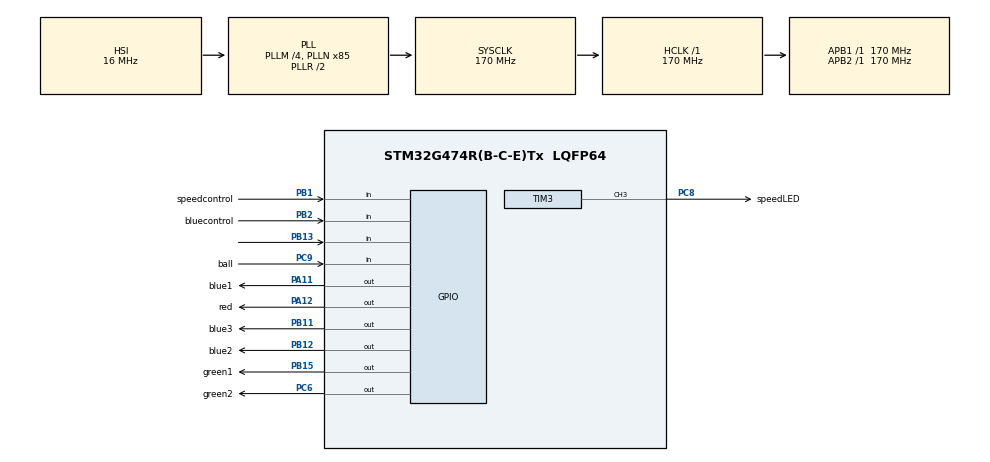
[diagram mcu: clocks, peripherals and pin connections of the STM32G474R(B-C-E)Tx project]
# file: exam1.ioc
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Mcu.Family=STM32G4
Mcu.Name=STM32G474R(B-C-E)Tx
Mcu.Package=LQFP64
NVIC.PriorityGroup=NVIC_PRIORITYGROUP_4
PA11.GPIO_Label=blue1
PA11.Signal=GPIO_Output
PA12.GPIO_Label=red
PA12.Signal=GPIO_Output
PA13.GPIO_Label=T_SWDIO
PA13.Signal=SYS_JTMS-SWDIO
PA14.GPIO_Label=T_SWCLK
PA14.Signal=SYS_JTCK-SWCLK
PA2.GPIO_Label=LPUART1_TX [STLINKV3E_VCP_RX]
PA2.Signal=LPUART1_TX
PA3.GPIO_Label=LPUART1_RX [STLINKV3E_VCP_TX]
PA3.Signal=LPUART1_RX
PB1.GPIO_Label=speedcontrol
PB1.GPIO_PuPd=GPIO_PULLUP
PB1.Signal=GPIO_Input
PB11.GPIO_Label=blue3
PB11.Signal=GPIO_Output
PB12.GPIO_Label=blue2
PB12.Signal=GPIO_Output
PB13.GPIO_PuPd=GPIO_PULLUP
PB13.Signal=GPIO_Input
PB15.GPIO_Label=green1
PB15.Signal=GPIO_Output
PB2.GPIO_Label=bluecontrol
PB2.GPIO_PuPd=GPIO_PULLUP
PB2.Signal=GPIO_Input
PB3.GPIO_Label=T_SWO
PB3.Signal=SYS_JTDO-SWO
PC14-OSC32_IN.GPIO_Label=RCC_OSC32_IN
PC14-OSC32_IN.Signal=RCC_OSC32_IN
PC15-OSC32_OUT.GPIO_Label=RCC_OSC32_OUT
PC15-OSC32_OUT.Signal=RCC_OSC32_OUT
PC6.GPIO_Label=green2
PC6.Signal=GPIO_Output
PC8.GPIO_Label=speedLED
PC8.Signal=S_TIM3_CH3
PC9.GPIO_Label=ball
PC9.GPIO_PuPd=GPIO_PULLUP
PC9.Signal=GPIO_Input
PF0-OSC_IN.GPIO_Label=RCC_OSC_IN
PF0-OSC_IN.Signal=RCC_OSC_IN
PF1-OSC_OUT.GPIO_Label=RCC_OSC_OUT
PF1-OSC_OUT.Signal=RCC_OSC_OUT
ProjectManager.HeapSize=0x200
ProjectManager.StackSize=0x400
ProjectManager.TargetToolchain=STM32CubeIDE
RCC.ADC12Freq_Value=170000000
RCC.ADC345Freq_Value=170000000
RCC.AHBFreq_Value=170000000
RCC.APB1Freq_Value=170000000
RCC.APB1TimFreq_Value=170000000
RCC.APB2Freq_Value=170000000
RCC.APB2TimFreq_Value=170000000
RCC.CortexFreq_Value=170000000
RCC.EXTERNAL_CLOCK_VALUE=12288000
RCC.HCLKFreq_Value=170000000
RCC.HSE_VALUE=24000000
RCC.HSI48_VALUE=48000000
RCC.HSI_VALUE=16000000
RCC.LSE_VALUE=32768
RCC.PLLM=RCC_PLLM_DIV4
RCC.PLLN=85
RCC.RTCClockSelection=RCC_RTCCLKSOURCE_LSE
RCC.SYSCLKFreq_VALUE=170000000
RCC.SYSCLKSource=RCC_SYSCLKSOURCE_PLLCLK
RCC.USBFreq_Value=170000000
RCC.VCOOutputFreq_Value=340000000
SH.S_TIM3_CH3.0=TIM3_CH3,PWM Generation3 CH3
TIM3.Channel-PWM\ Generation3\ CH3=TIM_CHANNEL_3
TIM3.PeriodNoDither=19999
TIM3.Prescaler=1699
TIM3.PulseNoDither_3=16000
VP_SYS_VS_DBSignals.Mode=DisableDeadBatterySignals
VP_TIM3_VS_ClockSourceINT.Mode=Internal
board=NUCLEO-G474RE

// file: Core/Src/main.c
/* USER CODE BEGIN Header */
/**
  ******************************************************************************
  * @file           : main.c
  * @brief          : Main program body
  ******************************************************************************
  * @attention
  *
  * Copyright (c) 2026 STMicroelectronics.
  * All rights reserved.
  *
  * This software is licensed under terms that can be found in the LICENSE file
  * in the root directory of this software component.
  * If no LICENSE file comes with this software, it is provided AS-IS.
  *
  ******************************************************************************
  */
/* USER CODE END Header */

#include "main.h"

TIM_HandleTypeDef htim3;

void SystemClock_Config(void);
static void MX_GPIO_Init(void);
static void MX_TIM3_Init(void);

int main(void)
{
  /* MCU Configuration--------------------------------------------------------*/
  HAL_Init();
  SystemClock_Config();

  /* Initialize all configured peripherals */
  MX_GPIO_Init();
  MX_TIM3_Init();

  /* USER CODE BEGIN 2 */

  // 啟動 TIM3 Channel 3 的 PWM 輸出 (對應 PC8 球速指示燈)
  HAL_TIM_PWM_Start(&htim3, TIM_CHANNEL_3);

  // 變數初始化宣告
  uint8_t direction_state = 0; // 0: 方向1 (PA11), 1: 方向2 (PB12), 2: 方向3 (PB11)
  uint8_t speed_level = 1;     // 1: 慢速, 2: 中速, 3: 快速

  // 初始化狀態：預設點亮方向1
  HAL_GPIO_WritePin(GPIOA, blue1_Pin, GPIO_PIN_SET);
  HAL_GPIO_WritePin(GPIOB, blue2_Pin, GPIO_PIN_RESET);
  HAL_GPIO_WritePin(GPIOB, blue3_Pin, GPIO_PIN_RESET);
  /* USER CODE END 2 */

  /* Infinite loop */
  while (1)
  {

    /* USER CODE BEGIN 3 */

    /* 1. 偵測是否有球 (PC9 / ball_Pin)
     * 按下 (GPIO_PIN_RESET) = 沒有球 -> 紅燈亮 (PA12 / red_Pin)、綠燈滅 (PC6 / green2_Pin)
     * 放開 (GPIO_PIN_SET)   = 有球   -> 紅燈滅 (PA12 / red_Pin)、綠燈亮 (PC6 / green2_Pin)
     */
    if (HAL_GPIO_ReadPin(ball_GPIO_Port, ball_Pin) == GPIO_PIN_RESET) {
        HAL_GPIO_WritePin(GPIOA, red_Pin, GPIO_PIN_SET);                  // 紅燈亮 (無球)
        HAL_GPIO_WritePin(green2_GPIO_Port, green2_Pin, GPIO_PIN_RESET);  // 綠燈滅
    } else {
        HAL_GPIO_WritePin(GPIOA, red_Pin, GPIO_PIN_RESET);                // 紅燈滅
        HAL_GPIO_WritePin(green2_GPIO_Port, green2_Pin, GPIO_PIN_SET);    // 綠燈亮 (有球)
    }

    /* 2. 發球控制 (改為 PB13 發球鍵, PB15 發球燈 / green1_Pin)
     * 必須在「有球」的前提下 (即 PC9 放開 / ball_Pin 為 SET)，按下 PB13 發球燈才會亮 0.5 秒
     */
    if (HAL_GPIO_ReadPin(GPIOB, GPIO_PIN_13) == GPIO_PIN_RESET) { // 按下 PB13 發球鍵
        if (HAL_GPIO_ReadPin(ball_GPIO_Port, ball_Pin) == GPIO_PIN_SET) { // 確保有球
            HAL_GPIO_WritePin(GPIOB, green1_Pin, GPIO_PIN_SET); // 發球燈亮
            HAL_Delay(500);
            HAL_GPIO_WritePin(GPIOB, green1_Pin, GPIO_PIN_RESET);
        }
        // 等待發球按鍵放開，避免連續觸發
        while(HAL_GPIO_ReadPin(GPIOB, GPIO_PIN_13) == GPIO_PIN_RESET);
    }

    /* 3. 方向切換按鍵 (PB2 / bluecontrol_Pin)
     * 每按一次切換 3 個方向 LED (PA11 -> PB12 -> PB11 -> 循環)
     */
    if (HAL_GPIO_ReadPin(GPIOB, bluecontrol_Pin) == GPIO_PIN_RESET) {
        HAL_Delay(30); // 簡易去彈跳
        if (HAL_GPIO_ReadPin(GPIOB, bluecontrol_Pin) == GPIO_PIN_RESET) {
            direction_state = (direction_state + 1) % 3;

            HAL_GPIO_WritePin(GPIOA, blue1_Pin, (direction_state == 0) ? GPIO_PIN_SET : GPIO_PIN_RESET);
            HAL_GPIO_WritePin(GPIOB, blue2_Pin, (direction_state == 1) ? GPIO_PIN_SET : GPIO_PIN_RESET);
            HAL_GPIO_WritePin(GPIOB, blue3_Pin, (direction_state == 2) ? GPIO_PIN_SET : GPIO_PIN_RESET);

            while(HAL_GPIO_ReadPin(GPIOB, bluecontrol_Pin) == GPIO_PIN_RESET);
        }
    }

    /* 4. 球速切換按鍵 (PB1 / speedcontrol_Pin)
     * 每按一次切換一種球速 (改變 PC8 的 PWM 佔空比)
     */
    if (HAL_GPIO_ReadPin(GPIOB, speedcontrol_Pin) == GPIO_PIN_RESET) {
        HAL_Delay(30);
        if (HAL_GPIO_ReadPin(GPIOB, speedcontrol_Pin) == GPIO_PIN_RESET) {
            speed_level = (speed_level % 3) + 1;

            if (speed_level == 1)      __HAL_TIM_SET_COMPARE(&htim3, TIM_CHANNEL_3, 5000);  // 速度 1
            else if (speed_level == 2) __HAL_TIM_SET_COMPARE(&htim3, TIM_CHANNEL_3, 12000); // 速度 2
            else if (speed_level == 3) __HAL_TIM_SET_COMPARE(&htim3, TIM_CHANNEL_3, 19000); // 速度 3

            while(HAL_GPIO_ReadPin(GPIOB, speedcontrol_Pin) == GPIO_PIN_RESET);
        }
    }

  }
  /* USER CODE END 3 */
}

void SystemClock_Config(void)
{
  RCC_OscInitTypeDef RCC_OscInitStruct = {0};
  RCC_ClkInitTypeDef RCC_ClkInitStruct = {0};

  HAL_PWREx_ControlVoltageScaling(PWR_REGULATOR_VOLTAGE_SCALE1_BOOST);

  RCC_OscInitStruct.OscillatorType = RCC_OSCILLATORTYPE_HSI;
  RCC_OscInitStruct.HSIState = RCC_HSI_ON;
  RCC_OscInitStruct.HSICalibrationValue = RCC_HSICALIBRATION_DEFAULT;
  RCC_OscInitStruct.PLL.PLLState = RCC_PLL_ON;
  RCC_OscInitStruct.PLL.PLLSource = RCC_PLLSOURCE_HSI;
  RCC_OscInitStruct.PLL.PLLM = RCC_PLLM_DIV4;
  RCC_OscInitStruct.PLL.PLLN = 85;
  RCC_OscInitStruct.PLL.PLLP = RCC_PLLP_DIV2;
  RCC_OscInitStruct.PLL.PLLQ = RCC_PLLQ_DIV2;
  RCC_OscInitStruct.PLL.PLLR = RCC_PLLR_DIV2;
  if (HAL_RCC_OscConfig(&RCC_OscInitStruct) != HAL_OK)
  {
    Error_Handler();
  }

  RCC_ClkInitStruct.ClockType = RCC_CLOCKTYPE_HCLK|RCC_CLOCKTYPE_SYSCLK
                              |RCC_CLOCKTYPE_PCLK1|RCC_CLOCKTYPE_PCLK2;
  RCC_ClkInitStruct.SYSCLKSource = RCC_SYSCLKSOURCE_PLLCLK;
  RCC_ClkInitStruct.AHBCLKDivider = RCC_SYSCLK_DIV1;
  RCC_ClkInitStruct.APB1CLKDivider = RCC_HCLK_DIV1;
  RCC_ClkInitStruct.APB2CLKDivider = RCC_HCLK_DIV1;

  if (HAL_RCC_ClockConfig(&RCC_ClkInitStruct, FLASH_LATENCY_4) != HAL_OK)
  {
    Error_Handler();
  }
}

static void MX_TIM3_Init(void)
{
  TIM_ClockConfigTypeDef sClockSourceConfig = {0};
  TIM_MasterConfigTypeDef sMasterConfig = {0};
  TIM_OC_InitTypeDef sConfigOC = {0};

  htim3.Instance = TIM3;
  htim3.Init.Prescaler = 1699;
  htim3.Init.CounterMode = TIM_COUNTERMODE_UP;
  htim3.Init.Period = 19999;
  htim3.Init.ClockDivision = TIM_CLOCKDIVISION_DIV1;
  htim3.Init.AutoReloadPreload = TIM_AUTORELOAD_PRELOAD_DISABLE;
  if (HAL_TIM_Base_Init(&htim3) != HAL_OK)
  {
    Error_Handler();
  }
  sClockSourceConfig.ClockSource = TIM_CLOCKSOURCE_INTERNAL;
  if (HAL_TIM_ConfigClockSource(&htim3, &sClockSourceConfig) != HAL_OK)
  {
    Error_Handler();
  }
  if (HAL_TIM_PWM_Init(&htim3) != HAL_OK)
  {
    Error_Handler();
  }
  sMasterConfig.MasterOutputTrigger = TIM_TRGO_RESET;
  sMasterConfig.MasterSlaveMode = TIM_MASTERSLAVEMODE_DISABLE;
  if (HAL_TIMEx_MasterConfigSynchronization(&htim3, &sMasterConfig) != HAL_OK)
  {
    Error_Handler();
  }
  sConfigOC.OCMode = TIM_OCMODE_PWM1;
  sConfigOC.Pulse = 16000;
  sConfigOC.OCPolarity = TIM_OCPOLARITY_HIGH;
  sConfigOC.OCFastMode = TIM_OCFAST_DISABLE;
  if (HAL_TIM_PWM_ConfigChannel(&htim3, &sConfigOC, TIM_CHANNEL_3) != HAL_OK)
  {
    Error_Handler();
  }
  HAL_TIM_MspPostInit(&htim3);
}

static void MX_GPIO_Init(void)
{
  GPIO_InitTypeDef GPIO_InitStruct = {0};

  __HAL_RCC_GPIOC_CLK_ENABLE();
  __HAL_RCC_GPIOF_CLK_ENABLE();
  __HAL_RCC_GPIOA_CLK_ENABLE();
  __HAL_RCC_GPIOB_CLK_ENABLE();

  HAL_GPIO_WritePin(GPIOB, blue3_Pin|blue2_Pin|green1_Pin, GPIO_PIN_RESET);
  HAL_GPIO_WritePin(green2_GPIO_Port, green2_Pin, GPIO_PIN_RESET);
  HAL_GPIO_WritePin(GPIOA, blue1_Pin|red_Pin, GPIO_PIN_RESET);

  /*Configure GPIO pin : PB13 (發球按鍵) */
  GPIO_InitStruct.Pin = GPIO_PIN_13;
  GPIO_InitStruct.Mode = GPIO_MODE_INPUT;
  GPIO_InitStruct.Pull = GPIO_PULLUP; // PB13 建議開啟上拉，按鍵接 GND
  HAL_GPIO_Init(GPIOB, &GPIO_InitStruct);

  /*Configure GPIO pins : speedcontrol_Pin (PB1) bluecontrol_Pin (PB2) */
  GPIO_InitStruct.Pin = speedcontrol_Pin|bluecontrol_Pin;
  GPIO_InitStruct.Mode = GPIO_MODE_INPUT;
  GPIO_InitStruct.Pull = GPIO_PULLUP;
  HAL_GPIO_Init(GPIOB, &GPIO_InitStruct);

  /*Configure GPIO pins : blue3_Pin blue2_Pin green1_Pin */
  GPIO_InitStruct.Pin = blue3_Pin|blue2_Pin|green1_Pin;
  GPIO_InitStruct.Mode = GPIO_MODE_OUTPUT_PP;
  GPIO_InitStruct.Pull = GPIO_NOPULL;
  GPIO_InitStruct.Speed = GPIO_SPEED_FREQ_LOW;
  HAL_GPIO_Init(GPIOB, &GPIO_InitStruct);

  /*Configure GPIO pin : green2_Pin */
  GPIO_InitStruct.Pin = green2_Pin;
  GPIO_InitStruct.Mode = GPIO_MODE_OUTPUT_PP;
  GPIO_InitStruct.Pull = GPIO_NOPULL;
  GPIO_InitStruct.Speed = GPIO_SPEED_FREQ_LOW;
  HAL_GPIO_Init(green2_GPIO_Port, &GPIO_InitStruct);

  /*Configure GPIO pin : ball_Pin (PC9) */
  GPIO_InitStruct.Pin = ball_Pin;
  GPIO_InitStruct.Mode = GPIO_MODE_INPUT;
  GPIO_InitStruct.Pull = GPIO_PULLUP;
  HAL_GPIO_Init(ball_GPIO_Port, &GPIO_InitStruct);

  /*Configure GPIO pins : blue1_Pin red_Pin */
  GPIO_InitStruct.Pin = blue1_Pin|red_Pin;
  GPIO_InitStruct.Mode = GPIO_MODE_OUTPUT_PP;
  GPIO_InitStruct.Pull = GPIO_NOPULL;
  GPIO_InitStruct.Speed = GPIO_SPEED_FREQ_LOW;
  HAL_GPIO_Init(GPIOA, &GPIO_InitStruct);
}

void Error_Handler(void)
{
  __disable_irq();
  while (1)
  {
  }
}
